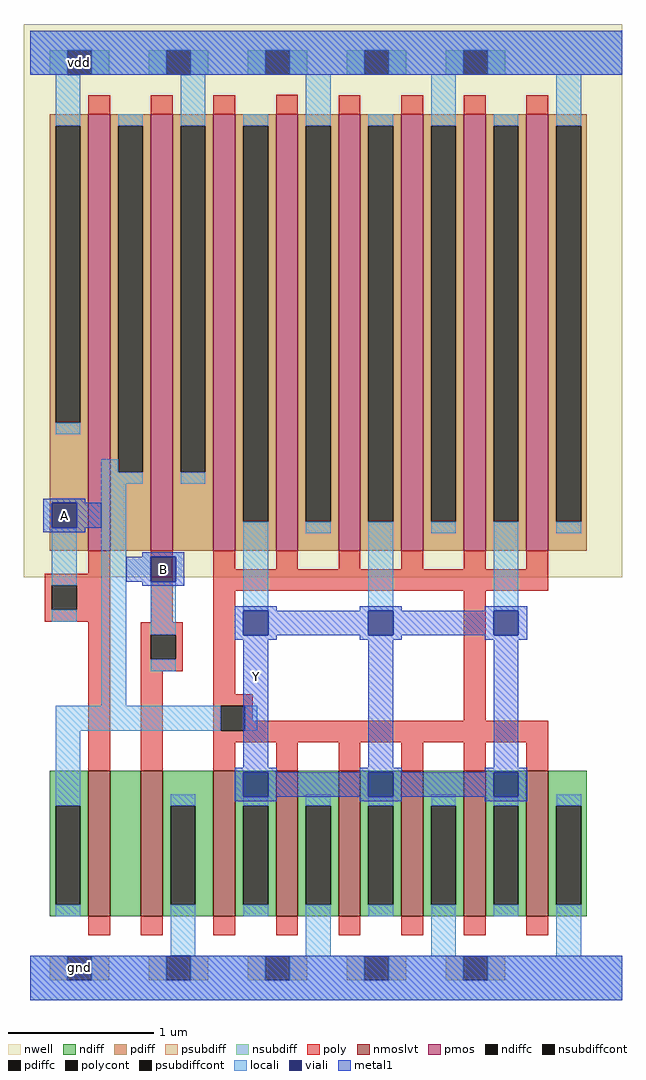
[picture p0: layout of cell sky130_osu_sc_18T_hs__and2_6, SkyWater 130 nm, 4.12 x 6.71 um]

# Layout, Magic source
magic
tech sky130A
magscale 1 2
<< nwell >>
rect -9 581 814 1341
<< pmos >>
rect 80 617 110 1217
rect 166 617 196 1217
rect 252 617 282 1217
rect 338 617 368 1217
rect 424 617 454 1217
rect 510 617 540 1217
rect 596 617 626 1217
rect 682 617 712 1217
<< nmoslvt >>
rect 80 115 110 315
rect 152 115 182 315
rect 252 115 282 315
rect 338 115 368 315
rect 424 115 454 315
rect 510 115 540 315
rect 596 115 626 315
rect 682 115 712 315
<< ndiff >>
rect 27 267 80 315
rect 27 131 35 267
rect 69 131 80 267
rect 27 115 80 131
rect 110 115 152 315
rect 182 267 252 315
rect 182 131 193 267
rect 227 131 252 267
rect 182 115 252 131
rect 282 267 338 315
rect 282 131 293 267
rect 327 131 338 267
rect 282 115 338 131
rect 368 267 424 315
rect 368 131 379 267
rect 413 131 424 267
rect 368 115 424 131
rect 454 267 510 315
rect 454 131 465 267
rect 499 131 510 267
rect 454 115 510 131
rect 540 267 596 315
rect 540 131 551 267
rect 585 131 596 267
rect 540 115 596 131
rect 626 267 682 315
rect 626 131 637 267
rect 671 131 682 267
rect 626 115 682 131
rect 712 267 765 315
rect 712 131 723 267
rect 757 131 765 267
rect 712 115 765 131
<< pdiff >>
rect 27 1201 80 1217
rect 27 793 35 1201
rect 69 793 80 1201
rect 27 617 80 793
rect 110 1201 166 1217
rect 110 725 121 1201
rect 155 725 166 1201
rect 110 617 166 725
rect 196 1201 252 1217
rect 196 725 207 1201
rect 241 725 252 1201
rect 196 617 252 725
rect 282 1201 338 1217
rect 282 657 293 1201
rect 327 657 338 1201
rect 282 617 338 657
rect 368 1201 424 1217
rect 368 657 379 1201
rect 413 657 424 1201
rect 368 617 424 657
rect 454 1201 510 1217
rect 454 657 465 1201
rect 499 657 510 1201
rect 454 617 510 657
rect 540 1201 596 1217
rect 540 657 551 1201
rect 585 657 596 1201
rect 540 617 596 657
rect 626 1201 682 1217
rect 626 657 637 1201
rect 671 657 682 1201
rect 626 617 682 657
rect 712 1201 765 1217
rect 712 657 723 1201
rect 757 657 765 1201
rect 712 617 765 657
<< ndiffc >>
rect 35 131 69 267
rect 193 131 227 267
rect 293 131 327 267
rect 379 131 413 267
rect 465 131 499 267
rect 551 131 585 267
rect 637 131 671 267
rect 723 131 757 267
<< pdiffc >>
rect 35 793 69 1201
rect 121 725 155 1201
rect 207 725 241 1201
rect 293 657 327 1201
rect 379 657 413 1201
rect 465 657 499 1201
rect 551 657 585 1201
rect 637 657 671 1201
rect 723 657 757 1201
<< psubdiff >>
rect 27 27 51 61
rect 85 27 109 61
rect 163 27 187 61
rect 221 27 245 61
rect 299 27 323 61
rect 357 27 381 61
rect 435 27 459 61
rect 493 27 517 61
rect 571 27 595 61
rect 629 27 653 61
<< nsubdiff >>
rect 27 1271 51 1305
rect 85 1271 109 1305
rect 163 1271 187 1305
rect 221 1271 245 1305
rect 299 1271 323 1305
rect 357 1271 381 1305
rect 435 1271 459 1305
rect 493 1271 517 1305
rect 571 1271 595 1305
rect 629 1271 653 1305
<< psubdiffcont >>
rect 51 27 85 61
rect 187 27 221 61
rect 323 27 357 61
rect 459 27 493 61
rect 595 27 629 61
<< nsubdiffcont >>
rect 51 1271 85 1305
rect 187 1271 221 1305
rect 323 1271 357 1305
rect 459 1271 493 1305
rect 595 1271 629 1305
<< poly >>
rect 80 1217 110 1243
rect 166 1217 196 1243
rect 252 1217 282 1243
rect 338 1217 368 1244
rect 424 1217 454 1243
rect 510 1217 540 1243
rect 596 1217 626 1243
rect 682 1217 712 1243
rect 80 586 110 617
rect 20 570 110 586
rect 20 536 30 570
rect 64 536 110 570
rect 20 520 110 536
rect 80 315 110 520
rect 166 519 196 617
rect 252 592 282 617
rect 338 592 368 617
rect 424 592 454 617
rect 510 592 540 617
rect 596 592 626 617
rect 682 592 712 617
rect 252 562 712 592
rect 152 502 210 519
rect 152 468 166 502
rect 200 468 210 502
rect 152 452 210 468
rect 152 315 182 452
rect 252 420 282 562
rect 252 404 306 420
rect 252 370 262 404
rect 296 384 306 404
rect 596 384 626 562
rect 296 370 712 384
rect 252 354 712 370
rect 252 315 282 354
rect 338 315 368 354
rect 424 315 454 354
rect 510 315 540 354
rect 596 315 626 354
rect 682 315 712 354
rect 80 89 110 115
rect 152 89 182 115
rect 252 89 282 115
rect 338 89 368 115
rect 424 89 454 115
rect 510 89 540 115
rect 596 89 626 115
rect 682 89 712 115
<< polycont >>
rect 30 536 64 570
rect 166 468 200 502
rect 262 370 296 404
<< locali >>
rect 0 1305 814 1332
rect 0 1271 51 1305
rect 85 1271 187 1305
rect 221 1271 323 1305
rect 357 1271 459 1305
rect 493 1271 595 1305
rect 629 1271 814 1305
rect 35 1201 69 1271
rect 35 777 69 793
rect 121 1201 155 1217
rect 98 725 121 743
rect 98 709 155 725
rect 207 1201 241 1271
rect 207 709 241 725
rect 293 1201 327 1217
rect 30 570 64 649
rect 30 520 64 536
rect 98 404 132 709
rect 166 502 200 575
rect 293 535 327 657
rect 379 1201 413 1271
rect 379 641 413 657
rect 465 1201 499 1217
rect 465 535 499 657
rect 551 1201 585 1271
rect 551 641 585 657
rect 637 1201 671 1217
rect 637 535 671 657
rect 723 1201 757 1271
rect 723 641 757 657
rect 166 452 200 468
rect 35 370 262 404
rect 296 370 312 404
rect 35 267 69 370
rect 35 115 69 131
rect 193 267 227 283
rect 193 61 227 131
rect 293 267 327 279
rect 293 115 327 131
rect 379 267 413 283
rect 379 61 413 131
rect 465 267 499 279
rect 465 115 499 131
rect 551 267 585 283
rect 551 61 585 131
rect 637 267 671 279
rect 637 115 671 131
rect 723 267 757 283
rect 723 61 757 131
rect 0 27 51 61
rect 85 27 187 61
rect 221 27 323 61
rect 357 27 459 61
rect 493 27 595 61
rect 629 27 814 61
rect 0 0 814 27
<< viali >>
rect 30 649 64 683
rect 166 575 200 609
rect 293 501 327 535
rect 465 501 499 535
rect 637 501 671 535
rect 293 279 327 313
rect 465 279 499 313
rect 637 279 671 313
<< metal1 >>
rect 0 1271 814 1332
rect 18 683 76 689
rect 18 649 30 683
rect 64 649 98 683
rect 18 643 76 649
rect 154 609 212 615
rect 132 575 166 609
rect 200 575 212 609
rect 154 569 212 575
rect 281 535 339 541
rect 453 535 511 541
rect 625 535 683 541
rect 281 501 293 535
rect 327 501 465 535
rect 499 501 637 535
rect 671 501 683 535
rect 281 495 339 501
rect 453 495 511 501
rect 625 495 683 501
rect 293 319 327 495
rect 465 319 499 495
rect 637 319 671 495
rect 281 313 339 319
rect 453 313 511 319
rect 625 313 683 319
rect 281 279 293 313
rect 327 279 465 313
rect 499 279 637 313
rect 671 279 683 313
rect 281 273 339 279
rect 453 273 511 279
rect 625 273 683 279
rect 0 0 814 61
<< labels >>
rlabel metal1 68 44 68 44 1 gnd
rlabel metal1 68 1288 68 1288 1 vdd
rlabel metal1 184 592 184 592 1 B
port 1 n
rlabel metal1 48 666 48 666 1 A
port 2 n
rlabel metal1 311 444 311 444 1 Y
port 3 n
<< end >>
